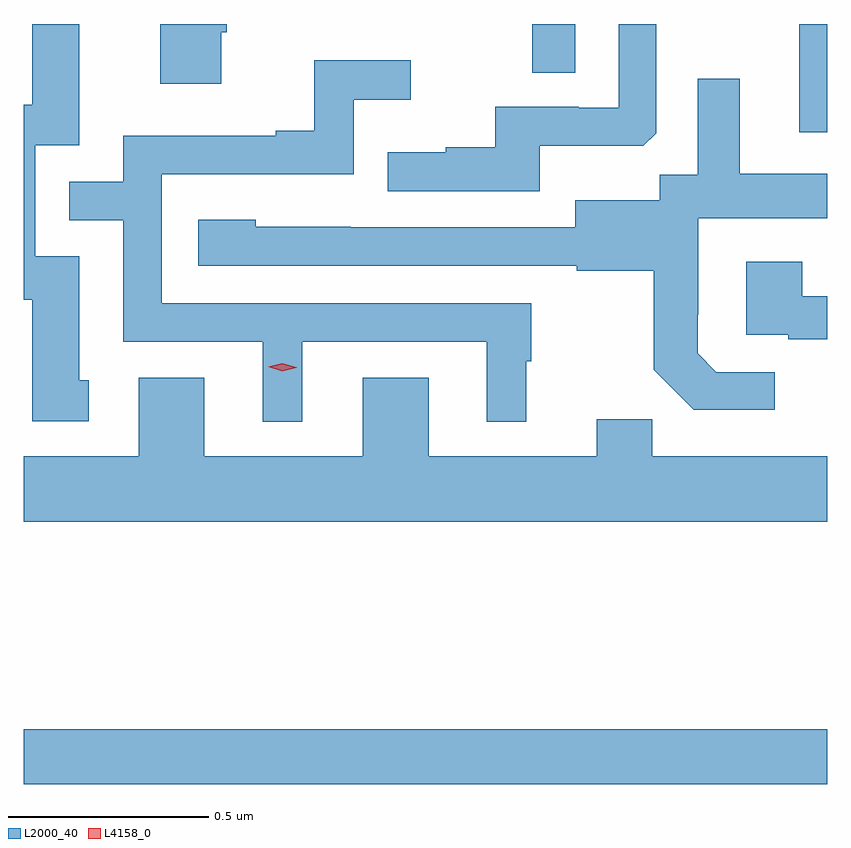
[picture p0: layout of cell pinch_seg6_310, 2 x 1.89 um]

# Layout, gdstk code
import gdstk
lib = gdstk.Library(unit=1e-6, precision=1e-09)
def R(c, l, rs):  # rectangles x0, y0, x1, y1
    for r in rs: c.add(gdstk.rectangle(r[:2], r[2:], *l))
def P(c, l, *ps):  # polygons
    for p in ps: c.add(gdstk.Polygon(p, *l))
L2000_40 = (2000, 40)
L4158_0 = (4158, 0)

pinch_seg6_310 = lib.new_cell('pinch_seg6_310')
R(pinch_seg6_310, L2000_40, [(673.897,956.008,675.897,956.144), (675.827,957.63,675.897,957.899), (675.162,957.778,675.27,957.899)])
P(pinch_seg6_310, L2000_40, [(674.389,957.879),(674.402,957.879),(674.402,957.899),(674.237,957.899),(674.237,957.75),(674.389,957.75)],
  [(675.181,957.596),(675.439,957.596),(675.471,957.627),(675.471,957.899),(675.378,957.899),(675.378,957.69),(675.278,957.69),(675.278,957.693),(675.071,957.693),(675.071,957.592),(674.947,957.592),(674.947,957.58),(674.803,957.58),(674.803,957.483),(675.181,957.483)],
  [(674.059,957.012),(674.035,957.012),(674.035,957.321),(673.926,957.321),(673.926,957.597),(674.035,957.597),(674.035,957.899),(673.919,957.899),(673.919,957.698),(673.897,957.698),(673.897,957.213),(673.919,957.213),(673.919,956.91),(674.059,956.91)],
  [(674.59,957.108),(675.05,957.108),(675.05,956.909),(675.148,956.909),(675.148,957.06),(675.16,957.06),(675.16,957.204),(674.241,957.204),(674.241,957.525),(674.718,957.525),(674.718,957.71),(674.86,957.71),(674.86,957.809),(674.62,957.809),(674.62,957.634),(674.525,957.634),(674.525,957.621),(674.145,957.621),(674.145,957.507),(674.011,957.507),(674.011,957.411),(674.145,957.411),(674.145,957.108),(674.492,957.108),(674.492,956.909),(674.59,956.909)],
  [(675.766,957.033),(675.621,957.033),(675.574,957.08),(675.574,957.175),(675.576,957.175),(675.576,957.416),(675.897,957.416),(675.897,957.526),(675.679,957.526),(675.679,957.763),(675.575,957.763),(675.575,957.524),(675.48,957.524),(675.48,957.46),(675.269,957.46),(675.269,957.393),(674.711,957.393),(674.711,957.394),(674.475,957.394),(674.475,957.412),(674.331,957.412),(674.331,957.297),(675.273,957.297),(675.273,957.285),(675.465,957.285),(675.465,957.039),(675.565,956.939),(675.766,956.939)],
  [(675.897,957.222),(675.835,957.222),(675.835,957.307),(675.695,957.307),(675.695,957.126),(675.799,957.126),(675.799,957.114),(675.897,957.114)],
  [(675.897,956.824),(675.461,956.824),(675.461,956.915),(675.323,956.915),(675.323,956.824),(674.905,956.824),(674.905,957.019),(674.741,957.019),(674.741,956.824),(674.347,956.824),(674.347,957.019),(674.183,957.019),(674.183,956.824),(673.897,956.824),(673.897,956.66),(675.897,956.66)])
P(pinch_seg6_310, L4158_0, [(674.541,957.035),(674.506,957.046),(674.505,957.046),(674.506,957.046),(674.541,957.055),(674.576,957.045),(674.577,957.045),(674.576,957.044)])

lib.write_gds('pinch_seg6_310.gds')
